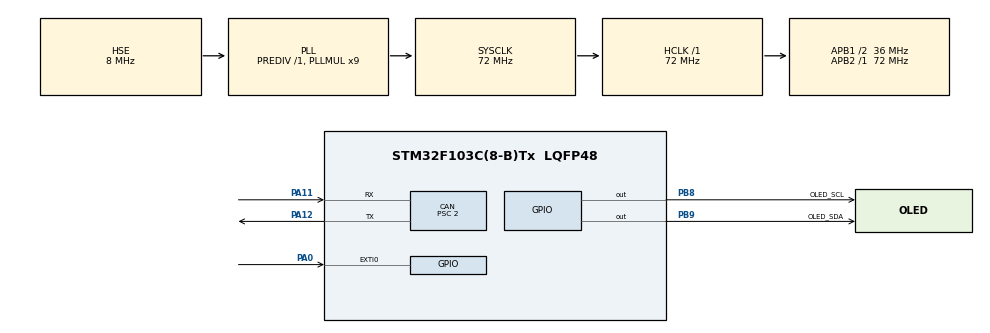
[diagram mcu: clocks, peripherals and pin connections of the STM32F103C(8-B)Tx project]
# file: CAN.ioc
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CAN.ABOM=ENABLE
CAN.BS1=CAN_BS1_14TQ
CAN.BS2=CAN_BS2_3TQ
CAN.CalculateBaudRate=1000000
CAN.CalculateTimeBit=1000
CAN.CalculateTimeQuantum=55.55555555555556
CAN.Mode=CAN_MODE_NORMAL
CAN.NART=ENABLE
CAN.Prescaler=2
Mcu.Family=STM32F1
Mcu.Name=STM32F103C(8-B)Tx
Mcu.Package=LQFP48
NVIC.EXTI0_IRQn=true\:0\:0\:false\:false\:true\:true\:true\:true
NVIC.PriorityGroup=NVIC_PRIORITYGROUP_4
NVIC.TIM2_IRQn=true\:1\:0\:true\:false\:true\:true\:true\:true
PA0-WKUP.GPIO_ModeDefaultEXTI=GPIO_MODE_IT_FALLING
PA0-WKUP.GPIO_PuPd=GPIO_PULLUP
PA0-WKUP.Signal=GPXTI0
PA11.Mode=CAN_Activate
PA11.Signal=CAN_RX
PA12.Mode=CAN_Activate
PA12.Signal=CAN_TX
PA13.Mode=Serial_Wire
PA13.Signal=SYS_JTMS-SWDIO
PA14.Mode=Serial_Wire
PA14.Signal=SYS_JTCK-SWCLK
PB8.GPIO_Label=OLED_SCL
PB8.GPIO_ModeDefaultOutputPP=GPIO_MODE_OUTPUT_OD
PB8.GPIO_PuPd=GPIO_NOPULL
PB8.GPIO_Speed=GPIO_SPEED_FREQ_HIGH
PB8.PinState=GPIO_PIN_SET
PB8.Signal=GPIO_Output
PB9.GPIO_Label=OLED_SDA
PB9.GPIO_ModeDefaultOutputPP=GPIO_MODE_OUTPUT_OD
PB9.GPIO_PuPd=GPIO_NOPULL
PB9.GPIO_Speed=GPIO_SPEED_FREQ_HIGH
PB9.PinState=GPIO_PIN_SET
PB9.Signal=GPIO_Output
PD0-OSC_IN.Mode=HSE-External-Oscillator
PD0-OSC_IN.Signal=RCC_OSC_IN
PD1-OSC_OUT.Mode=HSE-External-Oscillator
PD1-OSC_OUT.Signal=RCC_OSC_OUT
ProjectManager.HeapSize=0x200
ProjectManager.StackSize=0x400
ProjectManager.TargetToolchain=MDK-ARM V5.32
RCC.AHBFreq_Value=72000000
RCC.APB1CLKDivider=RCC_HCLK_DIV2
RCC.APB1Freq_Value=36000000
RCC.APB1TimFreq_Value=72000000
RCC.APB2Freq_Value=72000000
RCC.APB2TimFreq_Value=72000000
RCC.HCLKFreq_Value=72000000
RCC.PLLMUL=RCC_PLL_MUL9
RCC.PLLSourceVirtual=RCC_PLLSOURCE_HSE
RCC.SYSCLKFreq_VALUE=72000000
RCC.SYSCLKSource=RCC_SYSCLKSOURCE_PLLCLK
RCC.USBFreq_Value=72000000
TIM2.AutoReloadPreload=TIM_AUTORELOAD_PRELOAD_ENABLE
TIM2.Period=999
TIM2.Prescaler=7199
VP_TIM2_VS_ClockSourceINT.Mode=Internal
board=custom

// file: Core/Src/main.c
/* USER CODE BEGIN Header */
/**
  ******************************************************************************
  * @file           : main.c
  * @brief          : Main program body
  ******************************************************************************
  * @attention
  *
  * Copyright (c) 2026 STMicroelectronics.
  * All rights reserved.
  *
  * This software is licensed under terms that can be found in the LICENSE file
  * in the root directory of this software component.
  * If no LICENSE file comes with this software, it is provided AS-IS.
  *
  ******************************************************************************
  */
/* USER CODE END Header */
#include "main.h"
#include "can.h"
#include "tim.h"
#include "gpio.h"

/* USER CODE BEGIN Includes */
#include "oled.h"
/* USER CODE END Includes */

void SystemClock_Config(void);

/* USER CODE BEGIN 0 */

/**此部分由AI生成 START**/

//PA0按键中断，发送全0帧
//新增全局标记（放在USER CODE BEGIN 0区域）
uint8_t key_clear_flag = 0;

void HAL_GPIO_EXTI_Callback(uint16_t GPIO_Pin)
{
  if(GPIO_Pin == GPIO_PIN_0)
  {
    key_clear_flag = 1; //【只置标记，不干活！】
  }
}

uint32_t tick_cnt = 0;
uint8_t oled_refresh_flag = 0;
uint8_t can_tx_flag = 0;

//TIM2 1ms中断回调，周期发送
void HAL_TIM_PeriodElapsedCallback(TIM_HandleTypeDef *htim)
{
  if(htim->Instance == TIM2)
  {

	  can_tx_flag = 1;       //此部分由AI生成但经过修改
            oled_refresh_flag = 1;
            }
  }
/**此部分由AI生成 END**/

/* USER CODE END 0 */

int main(void)
{

  /* MCU Configuration--------------------------------------------------------*/

  /* Reset of all peripherals, Initializes the Flash interface and the Systick. */
  HAL_Init();

  /* Configure the system clock */
  SystemClock_Config();

  /* Initialize all configured peripherals */
  MX_GPIO_Init();
  MX_CAN_Init();
  MX_TIM2_Init();
  /* USER CODE BEGIN 2 */

  OLED_Init();
  OLED_Clear();
  HAL_TIM_Base_Start_IT(&htim2);

  /* USER CODE END 2 */

  /* Infinite loop */
  while (1)
  {

    /* USER CODE BEGIN 3 */
/**此部分由AI生成 START**/

   if(can_tx_flag == 1)
{

    can_tx_flag = 0;
    can_send_ok_flag = CAN_Send_4dev(dev_data, dev_u8);
}
   if(key_clear_flag == 1)
  {
    //1. 全局dev_data清零（关键！你之前漏掉这一步）
    dev_data[0] = 0;
    dev_data[1] = 0;
    dev_data[2] = 0;
//    dev_data[3] = 0;

    //2. 发送全0CAN报文
    can_send_ok_flag = CAN_Send_4dev(dev_data, dev_u8);

    //3. 开启OLED刷新标记
    oled_refresh_flag = 1;

    //4. 清除按键标志
    key_clear_flag = 0;
  }

if(oled_refresh_flag == 1)
    {
      oled_refresh_flag = 0;
      OLED_Clear();
      //第1行 CAN状态
      OLED_ShowString(1,1,"CAN:");
      if(can_send_ok_flag == 1)
      {
        OLED_ShowString(1,5,"OK");
      }
      else
      {
        OLED_ShowString(1,5,"ERR");
      }
      //第2行 D1 D2
      OLED_ShowString(2,1,"D1:");
      OLED_ShowSignedNum(2,4,dev_data[0],4);
      OLED_ShowString(2,9,"D2:");
      OLED_ShowSignedNum(2,12,dev_data[1],4);
      //第3行 D3 D4
      OLED_ShowString(3,1,"D3:");
      OLED_ShowSignedNum(3,4,dev_data[2],4);
    }
  }
  /**此部分由AI生成 END**/
  /* USER CODE END 3 */
}

void SystemClock_Config(void)
{
  RCC_OscInitTypeDef RCC_OscInitStruct = {0};
  RCC_ClkInitTypeDef RCC_ClkInitStruct = {0};

  /** Initializes the RCC Oscillators according to the specified parameters
  * in the RCC_OscInitTypeDef structure.
  */
  RCC_OscInitStruct.OscillatorType = RCC_OSCILLATORTYPE_HSE;
  RCC_OscInitStruct.HSEState = RCC_HSE_ON;
  RCC_OscInitStruct.HSEPredivValue = RCC_HSE_PREDIV_DIV1;
  RCC_OscInitStruct.HSIState = RCC_HSI_ON;
  RCC_OscInitStruct.PLL.PLLState = RCC_PLL_ON;
  RCC_OscInitStruct.PLL.PLLSource = RCC_PLLSOURCE_HSE;
  RCC_OscInitStruct.PLL.PLLMUL = RCC_PLL_MUL9;
  if (HAL_RCC_OscConfig(&RCC_OscInitStruct) != HAL_OK)
  {
    Error_Handler();
  }

  /** Initializes the CPU, AHB and APB buses clocks
  */
  RCC_ClkInitStruct.ClockType = RCC_CLOCKTYPE_HCLK|RCC_CLOCKTYPE_SYSCLK
                              |RCC_CLOCKTYPE_PCLK1|RCC_CLOCKTYPE_PCLK2;
  RCC_ClkInitStruct.SYSCLKSource = RCC_SYSCLKSOURCE_PLLCLK;
  RCC_ClkInitStruct.AHBCLKDivider = RCC_SYSCLK_DIV1;
  RCC_ClkInitStruct.APB1CLKDivider = RCC_HCLK_DIV2;
  RCC_ClkInitStruct.APB2CLKDivider = RCC_HCLK_DIV1;

  if (HAL_RCC_ClockConfig(&RCC_ClkInitStruct, FLASH_LATENCY_2) != HAL_OK)
  {
    Error_Handler();
  }
}

void Error_Handler(void)
{
  __disable_irq();
  while (1)
  {
  }
}
